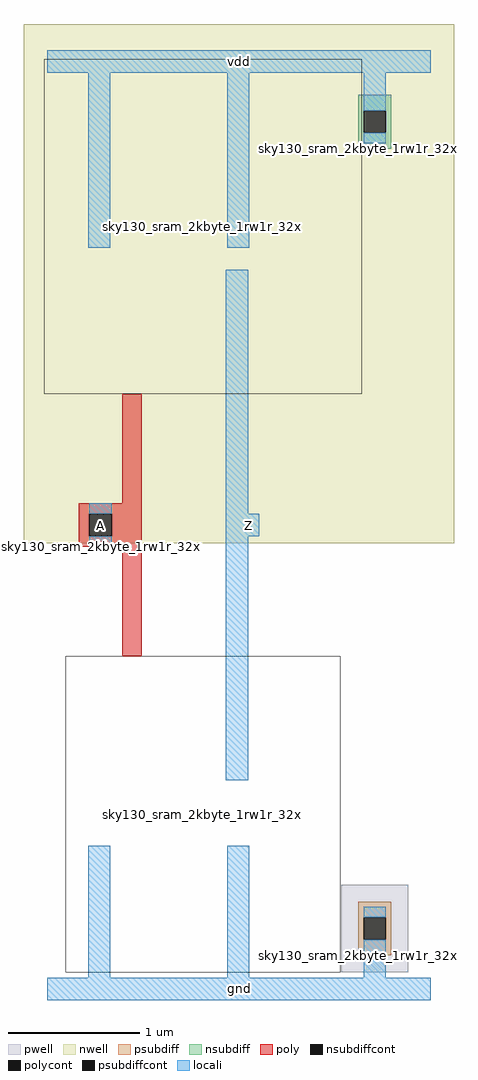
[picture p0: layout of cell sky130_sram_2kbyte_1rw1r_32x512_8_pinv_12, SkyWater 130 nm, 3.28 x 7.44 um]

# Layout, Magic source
magic
tech sky130A
magscale 1 2
<< nwell >>
rect -36 679 620 1471
<< pwell >>
rect 448 25 550 159
<< psubdiff >>
rect 474 109 524 133
rect 474 75 482 109
rect 516 75 524 109
rect 474 51 524 75
<< nsubdiff >>
rect 474 1339 524 1363
rect 474 1305 482 1339
rect 516 1305 524 1339
rect 474 1281 524 1305
<< psubdiffcont >>
rect 482 75 516 109
<< nsubdiffcont >>
rect 482 1305 516 1339
<< poly >>
rect 114 740 144 907
rect 48 724 144 740
rect 48 690 64 724
rect 98 690 144 724
rect 48 674 144 690
rect 114 507 144 674
<< polycont >>
rect 64 690 98 724
<< locali >>
rect 0 1397 584 1431
rect 62 1130 96 1397
rect 274 1130 308 1397
rect 482 1339 516 1397
rect 482 1289 516 1305
rect 64 724 98 740
rect 64 674 98 690
rect 272 724 306 1096
rect 272 690 323 724
rect 272 318 306 690
rect 62 17 96 218
rect 274 17 308 218
rect 482 109 516 125
rect 482 17 516 75
rect 0 -17 584 17
use sky130_sram_2kbyte_1rw1r_32x512_8_contact_16  sky130_sram_2kbyte_1rw1r_32x512_8_contact_16_0
transform 1 0 48 0 1 674
box 0 0 1 1
use sky130_sram_2kbyte_1rw1r_32x512_8_contact_29  sky130_sram_2kbyte_1rw1r_32x512_8_contact_29_0
transform 1 0 474 0 1 51
box 0 0 1 1
use sky130_sram_2kbyte_1rw1r_32x512_8_contact_28  sky130_sram_2kbyte_1rw1r_32x512_8_contact_28_0
transform 1 0 474 0 1 1281
box 0 0 1 1
use sky130_sram_2kbyte_1rw1r_32x512_8_nmos_m3_w2_000_sli_dli_da_p  sky130_sram_2kbyte_1rw1r_32x512_8_nmos_m3_w2_000_sli_dli_da_p_0
transform 1 0 54 0 1 51
box -26 -26 392 456
use sky130_sram_2kbyte_1rw1r_32x512_8_pmos_m3_w2_000_sli_dli_da_p  sky130_sram_2kbyte_1rw1r_32x512_8_pmos_m3_w2_000_sli_dli_da_p_0
transform 1 0 54 0 1 963
box -59 -56 425 454
<< labels >>
rlabel locali s 81 707 81 707 4 A
port 1 nsew
rlabel locali s 306 707 306 707 4 Z
port 2 nsew
rlabel locali s 292 0 292 0 4 gnd
port 3 nsew
rlabel locali s 292 1414 292 1414 4 vdd
port 4 nsew
<< properties >>
string FIXED_BBOX 0 0 584 1414
string GDS_FILE $PDKPATH/libs.ref/sky130_sram_macros/gds/sky130_sram_2kbyte_1rw1r_32x512_8.gds
string GDS_END 377690
string GDS_START 375692
<< end >>
